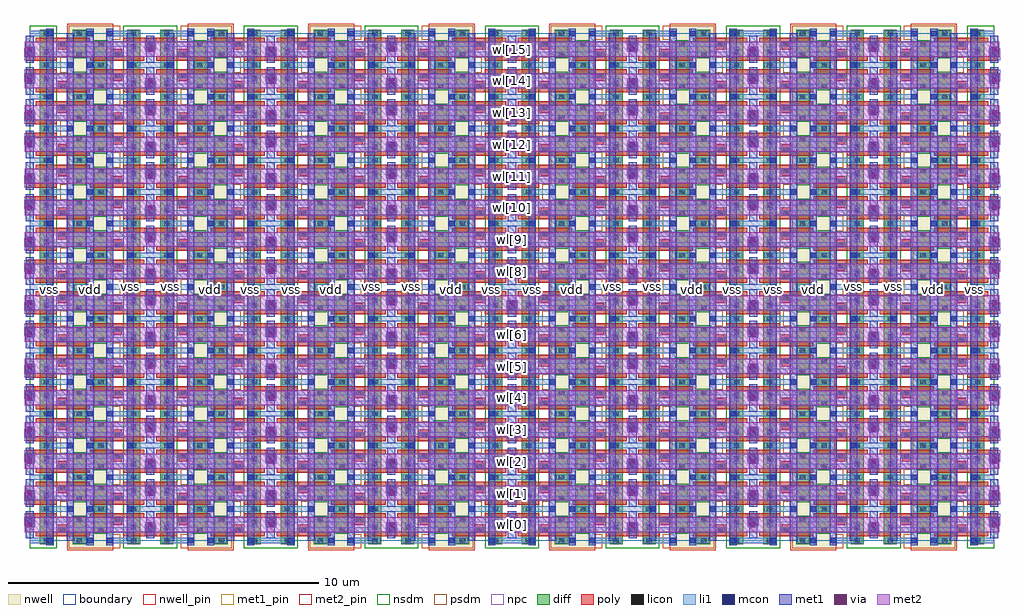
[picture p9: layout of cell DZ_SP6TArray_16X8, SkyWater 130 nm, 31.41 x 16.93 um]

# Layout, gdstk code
from math import pi, radians
import gdstk
lib = gdstk.Library(unit=1e-6, precision=1e-09)
def R(c, l, rs):  # rectangles x0, y0, x1, y1
    for r in rs: c.add(gdstk.rectangle(r[:2], r[2:], *l))
def A(c, l, x, y, w, h, nx, ny, dx, dy):  # array of equal rectangles
    R(c, l, [(x+i*dx, y+j*dy, x+i*dx+w, y+j*dy+h) for i in range(nx) for j in range(ny)])
def P(c, l, *ps):  # polygons
    for p in ps: c.add(gdstk.Polygon(p, *l))
nwell_pin = (64, 16)
nwell = (64, 20)
diff = (65, 20)
poly = (66, 20)
licon = (66, 44)
li1 = (67, 20)
mcon = (67, 44)
met1_pin = (68, 16)
met1 = (68, 20)
via = (68, 44)
met2_pin = (69, 16)
met2 = (69, 20)
nsdm = (93, 44)
psdm = (94, 20)
npc = (95, 20)
boundary = (235, 4)

dz_sp6tcell = lib.new_cell('DZ_SP6TCell')
R(dz_sp6tcell, nwell_pin, [(1.2,-0.305,2.68,1.325)])
R(dz_sp6tcell, nwell, [(1.2,-0.305,2.68,1.325)])
R(dz_sp6tcell, diff, [(0.32,-0.125,0.74,1.145), (2.08,-0.125,2.5,0.54), (3.14,-0.125,3.56,1.145), (1.38,0.215,1.8,0.465), (2.08,0.29,2.5,0.555), (1.38,0.465,1.8,0.73), (1.38,0.48,1.8,1.145), (2.08,0.555,2.5,0.805)])
P(dz_sp6tcell, poly, [(1.95,0.14),(1.95,0.29),(2.685,0.29),(2.685,0.505),(2.955,0.505),(2.955,0.29),(3.69,0.29),(3.69,0.14)],
  [(-0.135,0.14),(-0.135,0.505),(0.135,0.505),(0.135,0.29),(0.87,0.29),(0.87,0.14)],
  [(3.745,0.515),(3.745,0.73),(3.01,0.73),(3.01,0.88),(4.015,0.88),(4.015,0.515)],
  [(0.925,0.515),(0.925,0.73),(0.19,0.73),(0.19,0.88),(1.93,0.88),(1.93,0.73),(1.195,0.73),(1.195,0.515)])
R(dz_sp6tcell, licon, [(0.445,-0.085,0.615,0.085), (2.205,-0.085,2.375,0.085), (3.265,-0.085,3.435,0.085), (-0.085,0.255,0.085,0.425), (1.505,0.255,1.675,0.425), (2.735,0.255,2.905,0.425), (0.445,0.345,0.615,0.515), (3.265,0.505,3.435,0.675), (0.975,0.595,1.145,0.765), (2.205,0.595,2.375,0.765), (3.795,0.595,3.965,0.765), (0.445,0.935,0.615,1.105), (1.505,0.935,1.675,1.105), (3.265,0.935,3.435,1.105)])
R(dz_sp6tcell, li1, [(0.365,-0.085,1.385,0.085), (1.855,-0.085,2.455,0.085), (3.145,-0.085,3.88,0.085), (-0.165,0.255,0.165,0.595), (3.715,0.425,4.045,0.765), (0,0.935,0.735,1.105), (1.425,0.935,2.025,1.105), (2.495,0.935,3.515,1.105)])
P(dz_sp6tcell, li1, [(0.445,0.255),(0.445,0.595),(0.615,0.595),(0.615,0.425),(2.985,0.425),(2.985,0.255)],
  [(3.265,0.425),(3.265,0.595),(0.895,0.595),(0.895,0.765),(3.435,0.765),(3.435,0.425)])
R(dz_sp6tcell, mcon, [(1.215,-0.085,1.385,0.085), (1.855,-0.085,2.025,0.085), (3.145,-0.085,3.315,0.085), (-0.085,0.425,0.085,0.595), (3.795,0.425,3.965,0.595), (0.565,0.935,0.735,1.105), (1.855,0.935,2.025,1.105), (2.495,0.935,2.665,1.105)])
R(dz_sp6tcell, met1_pin, [(1.185,-0.145,1.415,1.02), (1.825,-0.145,2.055,1.165), (3.115,-0.145,3.345,1.02), (0.535,0,0.765,1.165), (2.465,0,2.695,1.165)])
R(dz_sp6tcell, met1, [(1.185,-0.145,1.415,1.02), (1.825,-0.145,2.055,1.165), (3.115,-0.145,3.345,1.02), (0.535,0,0.765,1.165), (2.465,0,2.695,1.165), (-0.13,0.07,0.13,0.95), (3.75,0.07,4.01,0.95)])
R(dz_sp6tcell, via, [(-0.075,0.435,0.075,0.585), (3.805,0.435,3.955,0.585)])
R(dz_sp6tcell, met2_pin, [(-0.16,0.27,4.04,0.75)])
R(dz_sp6tcell, met2, [(-0.16,0.27,4.04,0.75)])
R(dz_sp6tcell, nsdm, [(0,-0.25,0.865,1.27), (3.015,-0.25,3.88,1.27)])
P(dz_sp6tcell, psdm, [(0.975,-0.25),(0.975,0.195),(1.255,0.195),(1.255,1.27),(2.905,1.27),(2.905,0.825),(2.625,0.825),(2.625,-0.25)])
R(dz_sp6tcell, npc, [(-0.185,0.155,0.185,0.525), (2.635,0.155,3.005,0.525), (0.875,0.495,1.245,0.865), (3.695,0.495,4.065,0.865)])
R(dz_sp6tcell, boundary, [(0,0,3.88,1.02)])
dz_sp6tcell.add(gdstk.Label('bl', (1.3,0.438), layer=68, texttype=16))
dz_sp6tcell.add(gdstk.Label('vss', (3.23,0.438), layer=68, texttype=16))
dz_sp6tcell.add(gdstk.Label('vss', (0.65,0.583), layer=68, texttype=16))
dz_sp6tcell.add(gdstk.Label('vdd', (1.94,0.51), layer=68, texttype=16))
dz_sp6tcell.add(gdstk.Label('bl_n', (2.58,0.583), layer=68, texttype=16))
dz_sp6tcell.add(gdstk.Label('wl', (1.94,0.51), layer=69, texttype=16))
dz_sp6tcell.add(gdstk.Label('nwell', (1.94,0.51), layer=64, texttype=16))

dz_sp6tarray_2x1 = lib.new_cell('DZ_SP6TArray_2X1')
R(dz_sp6tarray_2x1, nwell_pin, [(1.2,-0.305,2.68,2.345)])
R(dz_sp6tarray_2x1, nwell, [(1.2,-0.305,2.68,2.345)])
R(dz_sp6tarray_2x1, met1_pin, [(0.535,-0.145,0.765,2.04), (1.825,-0.145,2.055,2.04), (2.465,-0.145,2.695,2.185), (1.185,0,1.415,2.04), (3.115,0,3.345,2.04)])
R(dz_sp6tarray_2x1, met1, [(0.535,-0.145,0.765,2.04), (1.825,-0.145,2.055,2.04), (2.465,-0.145,2.695,2.185), (1.185,0,1.415,2.04), (3.115,0,3.345,2.04)])
R(dz_sp6tarray_2x1, met2_pin, [(-0.16,0.27,4.04,0.75), (-0.16,1.29,4.04,1.77)])
R(dz_sp6tarray_2x1, met2, [(-0.16,0.27,4.04,0.75), (-0.16,1.29,4.04,1.77)])
R(dz_sp6tarray_2x1, boundary, [(0,0,3.88,2.04)])
dz_sp6tarray_2x1.add(gdstk.Reference(dz_sp6tcell, (0,1.02), x_reflection=True))
dz_sp6tarray_2x1.add(gdstk.Reference(dz_sp6tcell, (0,1.02)))
dz_sp6tarray_2x1.add(gdstk.Label('vss', (3.23,1.02), layer=68, texttype=16))
dz_sp6tarray_2x1.add(gdstk.Label('vss', (0.65,0.948), layer=68, texttype=16))
dz_sp6tarray_2x1.add(gdstk.Label('vdd', (1.94,0.948), layer=68, texttype=16))
dz_sp6tarray_2x1.add(gdstk.Label('bl[0]', (1.3,1.02), layer=68, texttype=16))
dz_sp6tarray_2x1.add(gdstk.Label('bl_n[0]', (2.58,1.02), layer=68, texttype=16))
dz_sp6tarray_2x1.add(gdstk.Label('wl[0]', (1.94,0.51), layer=69, texttype=16))
dz_sp6tarray_2x1.add(gdstk.Label('wl[1]', (1.94,1.53), layer=69, texttype=16))
dz_sp6tarray_2x1.add(gdstk.Label('nwell', (1.94,1.02), layer=64, texttype=16))

dz_sp6tarray_2x2 = lib.new_cell('DZ_SP6TArray_2X2')
R(dz_sp6tarray_2x2, nwell_pin, [(1.2,-0.305,2.68,2.345), (5.08,-0.305,6.56,2.345)])
R(dz_sp6tarray_2x2, nwell, [(1.2,-0.305,2.68,2.345), (5.08,-0.305,6.56,2.345)])
R(dz_sp6tarray_2x2, met1_pin, [(0.535,-0.145,0.765,2.04), (1.825,-0.145,2.055,2.04), (2.465,-0.145,2.695,2.185), (5.065,-0.145,5.295,2.185), (5.705,-0.145,5.935,2.04), (6.995,-0.145,7.225,2.04), (1.185,0,1.415,2.04), (3.115,0,3.345,2.04), (4.415,0,4.645,2.04), (6.345,0,6.575,2.04)])
R(dz_sp6tarray_2x2, met1, [(0.535,-0.145,0.765,2.04), (1.825,-0.145,2.055,2.04), (2.465,-0.145,2.695,2.185), (5.065,-0.145,5.295,2.185), (5.705,-0.145,5.935,2.04), (6.995,-0.145,7.225,2.04), (1.185,0,1.415,2.04), (3.115,0,3.345,2.04), (4.415,0,4.645,2.04), (6.345,0,6.575,2.04)])
R(dz_sp6tarray_2x2, met2_pin, [(-0.16,0.27,7.92,0.75), (-0.16,1.29,7.92,1.77)])
R(dz_sp6tarray_2x2, met2, [(-0.16,0.27,7.92,0.75), (-0.16,1.29,7.92,1.77)])
R(dz_sp6tarray_2x2, boundary, [(0,0,7.76,2.04)])
dz_sp6tarray_2x2.add(gdstk.Reference(dz_sp6tarray_2x1, (0,0)))
dz_sp6tarray_2x2.add(gdstk.Reference(dz_sp6tarray_2x1, (7.76,0), rotation=pi, x_reflection=True))
dz_sp6tarray_2x2.add(gdstk.Label('vss', (7.11,0.948), layer=68, texttype=16))
dz_sp6tarray_2x2.add(gdstk.Label('vss', (3.23,1.02), layer=68, texttype=16))
dz_sp6tarray_2x2.add(gdstk.Label('vss', (0.65,0.948), layer=68, texttype=16))
dz_sp6tarray_2x2.add(gdstk.Label('vss', (4.53,1.02), layer=68, texttype=16))
dz_sp6tarray_2x2.add(gdstk.Label('vdd', (5.82,0.948), layer=68, texttype=16))
dz_sp6tarray_2x2.add(gdstk.Label('vdd', (1.94,0.948), layer=68, texttype=16))
dz_sp6tarray_2x2.add(gdstk.Label('bl[0]', (1.3,1.02), layer=68, texttype=16))
dz_sp6tarray_2x2.add(gdstk.Label('bl_n[0]', (2.58,1.02), layer=68, texttype=16))
dz_sp6tarray_2x2.add(gdstk.Label('bl[1]', (6.46,1.02), layer=68, texttype=16))
dz_sp6tarray_2x2.add(gdstk.Label('bl_n[1]', (5.18,1.02), layer=68, texttype=16))
dz_sp6tarray_2x2.add(gdstk.Label('wl[0]', (3.88,0.51), layer=69, texttype=16))
dz_sp6tarray_2x2.add(gdstk.Label('wl[1]', (3.88,1.53), layer=69, texttype=16))
dz_sp6tarray_2x2.add(gdstk.Label('nwell', (5.82,1.02), layer=64, texttype=16))
dz_sp6tarray_2x2.add(gdstk.Label('nwell', (1.94,1.02), layer=64, texttype=16))

dz_sp6tarray_4x2 = lib.new_cell('DZ_SP6TArray_4X2')
R(dz_sp6tarray_4x2, nwell_pin, [(1.2,-0.305,2.68,4.385), (5.08,-0.305,6.56,4.385)])
R(dz_sp6tarray_4x2, nwell, [(1.2,-0.305,2.68,4.385), (5.08,-0.305,6.56,4.385)])
R(dz_sp6tarray_4x2, met1_pin, [(0.535,-0.145,0.765,4.08), (1.825,-0.145,2.055,4.08), (2.465,-0.145,2.695,4.225), (5.065,-0.145,5.295,4.225), (5.705,-0.145,5.935,4.08), (6.995,-0.145,7.225,4.08), (1.185,0,1.415,4.08), (3.115,0,3.345,4.08), (4.415,0,4.645,4.08), (6.345,0,6.575,4.08)])
R(dz_sp6tarray_4x2, met1, [(0.535,-0.145,0.765,4.08), (1.825,-0.145,2.055,4.08), (2.465,-0.145,2.695,4.225), (5.065,-0.145,5.295,4.225), (5.705,-0.145,5.935,4.08), (6.995,-0.145,7.225,4.08), (1.185,0,1.415,4.08), (3.115,0,3.345,4.08), (4.415,0,4.645,4.08), (6.345,0,6.575,4.08)])
A(dz_sp6tarray_4x2, met2_pin, -0.16, 0.27, 8.08, 0.48, 1, 4, 0, 1.02)
A(dz_sp6tarray_4x2, met2, -0.16, 0.27, 8.08, 0.48, 1, 4, 0, 1.02)
R(dz_sp6tarray_4x2, boundary, [(0,0,7.76,4.08)])
dz_sp6tarray_4x2.add(gdstk.Reference(dz_sp6tarray_2x2, (0,0)))
dz_sp6tarray_4x2.add(gdstk.Reference(dz_sp6tarray_2x2, (0,2.04)))
dz_sp6tarray_4x2.add(gdstk.Label('vss', (3.23,2.04), layer=68, texttype=16))
dz_sp6tarray_4x2.add(gdstk.Label('vss', (0.65,1.968), layer=68, texttype=16))
dz_sp6tarray_4x2.add(gdstk.Label('vss', (4.53,2.04), layer=68, texttype=16))
dz_sp6tarray_4x2.add(gdstk.Label('vss', (7.11,1.968), layer=68, texttype=16))
dz_sp6tarray_4x2.add(gdstk.Label('vdd', (5.82,1.968), layer=68, texttype=16))
dz_sp6tarray_4x2.add(gdstk.Label('vdd', (1.94,1.968), layer=68, texttype=16))
dz_sp6tarray_4x2.add(gdstk.Label('bl[0]', (1.3,2.04), layer=68, texttype=16))
dz_sp6tarray_4x2.add(gdstk.Label('bl_n[0]', (2.58,2.04), layer=68, texttype=16))
dz_sp6tarray_4x2.add(gdstk.Label('bl[1]', (6.46,2.04), layer=68, texttype=16))
dz_sp6tarray_4x2.add(gdstk.Label('bl_n[1]', (5.18,2.04), layer=68, texttype=16))
dz_sp6tarray_4x2.add(gdstk.Label('wl[0]', (3.88,0.51), layer=69, texttype=16))
dz_sp6tarray_4x2.add(gdstk.Label('wl[1]', (3.88,1.53), layer=69, texttype=16))
dz_sp6tarray_4x2.add(gdstk.Label('wl[2]', (3.88,2.55), layer=69, texttype=16))
dz_sp6tarray_4x2.add(gdstk.Label('wl[3]', (3.88,3.57), layer=69, texttype=16))
dz_sp6tarray_4x2.add(gdstk.Label('nwell', (5.82,2.04), layer=64, texttype=16))
dz_sp6tarray_4x2.add(gdstk.Label('nwell', (1.94,2.04), layer=64, texttype=16))

dz_sp6tarray_4x4 = lib.new_cell('DZ_SP6TArray_4X4')
A(dz_sp6tarray_4x4, nwell_pin, 1.2, -0.305, 1.48, 4.69, 4, 1, 3.88, 0)
A(dz_sp6tarray_4x4, nwell, 1.2, -0.305, 1.48, 4.69, 4, 1, 3.88, 0)
R(dz_sp6tarray_4x4, met1_pin, [(0.535,-0.145,0.765,4.08), (1.825,-0.145,2.055,4.08), (2.465,-0.145,2.695,4.225), (5.065,-0.145,5.295,4.225), (5.705,-0.145,5.935,4.08), (6.995,-0.145,7.225,4.08), (8.295,-0.145,8.525,4.08), (9.585,-0.145,9.815,4.08), (10.225,-0.145,10.455,4.225), (12.825,-0.145,13.055,4.225), (13.465,-0.145,13.695,4.08), (14.755,-0.145,14.985,4.08), (1.185,0,1.415,4.08), (3.115,0,3.345,4.08), (4.415,0,4.645,4.08), (6.345,0,6.575,4.08), (8.945,0,9.175,4.08), (10.875,0,11.105,4.08), (12.175,0,12.405,4.08), (14.105,0,14.335,4.08)])
R(dz_sp6tarray_4x4, met1, [(0.535,-0.145,0.765,4.08), (1.825,-0.145,2.055,4.08), (2.465,-0.145,2.695,4.225), (5.065,-0.145,5.295,4.225), (5.705,-0.145,5.935,4.08), (6.995,-0.145,7.225,4.08), (8.295,-0.145,8.525,4.08), (9.585,-0.145,9.815,4.08), (10.225,-0.145,10.455,4.225), (12.825,-0.145,13.055,4.225), (13.465,-0.145,13.695,4.08), (14.755,-0.145,14.985,4.08), (1.185,0,1.415,4.08), (3.115,0,3.345,4.08), (4.415,0,4.645,4.08), (6.345,0,6.575,4.08), (8.945,0,9.175,4.08), (10.875,0,11.105,4.08), (12.175,0,12.405,4.08), (14.105,0,14.335,4.08)])
A(dz_sp6tarray_4x4, met2_pin, -0.16, 0.27, 15.84, 0.48, 1, 4, 0, 1.02)
A(dz_sp6tarray_4x4, met2, -0.16, 0.27, 15.84, 0.48, 1, 4, 0, 1.02)
R(dz_sp6tarray_4x4, boundary, [(0,0,15.52,4.08)])
dz_sp6tarray_4x4.add(gdstk.Reference(dz_sp6tarray_4x2, (0,0)))
dz_sp6tarray_4x4.add(gdstk.Reference(dz_sp6tarray_4x2, (7.76,0)))
dz_sp6tarray_4x4.add(gdstk.Label('vss', (14.87,1.968), layer=68, texttype=16))
dz_sp6tarray_4x4.add(gdstk.Label('vss', (8.41,1.968), layer=68, texttype=16))
dz_sp6tarray_4x4.add(gdstk.Label('vss', (3.23,2.04), layer=68, texttype=16))
dz_sp6tarray_4x4.add(gdstk.Label('vss', (10.99,2.04), layer=68, texttype=16))
dz_sp6tarray_4x4.add(gdstk.Label('vss', (4.53,2.04), layer=68, texttype=16))
dz_sp6tarray_4x4.add(gdstk.Label('vss', (7.11,1.968), layer=68, texttype=16))
dz_sp6tarray_4x4.add(gdstk.Label('vss', (12.29,2.04), layer=68, texttype=16))
dz_sp6tarray_4x4.add(gdstk.Label('vss', (0.65,1.968), layer=68, texttype=16))
dz_sp6tarray_4x4.add(gdstk.Label('vdd', (5.82,1.968), layer=68, texttype=16))
dz_sp6tarray_4x4.add(gdstk.Label('vdd', (9.7,1.968), layer=68, texttype=16))
dz_sp6tarray_4x4.add(gdstk.Label('vdd', (1.94,1.968), layer=68, texttype=16))
dz_sp6tarray_4x4.add(gdstk.Label('vdd', (13.58,1.968), layer=68, texttype=16))
dz_sp6tarray_4x4.add(gdstk.Label('bl[0]', (1.3,2.04), layer=68, texttype=16))
dz_sp6tarray_4x4.add(gdstk.Label('bl_n[0]', (2.58,2.04), layer=68, texttype=16))
dz_sp6tarray_4x4.add(gdstk.Label('bl[1]', (6.46,2.04), layer=68, texttype=16))
dz_sp6tarray_4x4.add(gdstk.Label('bl_n[1]', (5.18,2.04), layer=68, texttype=16))
dz_sp6tarray_4x4.add(gdstk.Label('bl[2]', (9.06,2.04), layer=68, texttype=16))
dz_sp6tarray_4x4.add(gdstk.Label('bl_n[2]', (10.34,2.04), layer=68, texttype=16))
dz_sp6tarray_4x4.add(gdstk.Label('bl[3]', (14.22,2.04), layer=68, texttype=16))
dz_sp6tarray_4x4.add(gdstk.Label('bl_n[3]', (12.94,2.04), layer=68, texttype=16))
dz_sp6tarray_4x4.add(gdstk.Label('wl[0]', (7.76,0.51), layer=69, texttype=16))
dz_sp6tarray_4x4.add(gdstk.Label('wl[1]', (7.76,1.53), layer=69, texttype=16))
dz_sp6tarray_4x4.add(gdstk.Label('wl[2]', (7.76,2.55), layer=69, texttype=16))
dz_sp6tarray_4x4.add(gdstk.Label('wl[3]', (7.76,3.57), layer=69, texttype=16))
dz_sp6tarray_4x4.add(gdstk.Label('nwell', (13.58,2.04), layer=64, texttype=16))
dz_sp6tarray_4x4.add(gdstk.Label('nwell', (5.82,2.04), layer=64, texttype=16))
dz_sp6tarray_4x4.add(gdstk.Label('nwell', (9.7,2.04), layer=64, texttype=16))
dz_sp6tarray_4x4.add(gdstk.Label('nwell', (1.94,2.04), layer=64, texttype=16))

dz_sp6tarray_8x4 = lib.new_cell('DZ_SP6TArray_8X4')
A(dz_sp6tarray_8x4, nwell_pin, 1.2, -0.305, 1.48, 8.77, 4, 1, 3.88, 0)
A(dz_sp6tarray_8x4, nwell, 1.2, -0.305, 1.48, 8.77, 4, 1, 3.88, 0)
R(dz_sp6tarray_8x4, met1_pin, [(0.535,-0.145,0.765,8.16), (1.825,-0.145,2.055,8.16), (2.465,-0.145,2.695,8.305), (5.065,-0.145,5.295,8.305), (5.705,-0.145,5.935,8.16), (6.995,-0.145,7.225,8.16), (8.295,-0.145,8.525,8.16), (9.585,-0.145,9.815,8.16), (10.225,-0.145,10.455,8.305), (12.825,-0.145,13.055,8.305), (13.465,-0.145,13.695,8.16), (14.755,-0.145,14.985,8.16), (1.185,0,1.415,8.16), (3.115,0,3.345,8.16), (4.415,0,4.645,8.16), (6.345,0,6.575,8.16), (8.945,0,9.175,8.16), (10.875,0,11.105,8.16), (12.175,0,12.405,8.16), (14.105,0,14.335,8.16)])
R(dz_sp6tarray_8x4, met1, [(0.535,-0.145,0.765,8.16), (1.825,-0.145,2.055,8.16), (2.465,-0.145,2.695,8.305), (5.065,-0.145,5.295,8.305), (5.705,-0.145,5.935,8.16), (6.995,-0.145,7.225,8.16), (8.295,-0.145,8.525,8.16), (9.585,-0.145,9.815,8.16), (10.225,-0.145,10.455,8.305), (12.825,-0.145,13.055,8.305), (13.465,-0.145,13.695,8.16), (14.755,-0.145,14.985,8.16), (1.185,0,1.415,8.16), (3.115,0,3.345,8.16), (4.415,0,4.645,8.16), (6.345,0,6.575,8.16), (8.945,0,9.175,8.16), (10.875,0,11.105,8.16), (12.175,0,12.405,8.16), (14.105,0,14.335,8.16)])
A(dz_sp6tarray_8x4, met2_pin, -0.16, 0.27, 15.84, 0.48, 1, 8, 0, 1.02)
A(dz_sp6tarray_8x4, met2, -0.16, 0.27, 15.84, 0.48, 1, 8, 0, 1.02)
R(dz_sp6tarray_8x4, boundary, [(0,0,15.52,8.16)])
dz_sp6tarray_8x4.add(gdstk.Reference(dz_sp6tarray_4x4, (0,0)))
dz_sp6tarray_8x4.add(gdstk.Reference(dz_sp6tarray_4x4, (0,4.08)))
dz_sp6tarray_8x4.add(gdstk.Label('vss', (12.29,4.08), layer=68, texttype=16))
dz_sp6tarray_8x4.add(gdstk.Label('vss', (0.65,4.008), layer=68, texttype=16))
dz_sp6tarray_8x4.add(gdstk.Label('vss', (14.87,4.008), layer=68, texttype=16))
dz_sp6tarray_8x4.add(gdstk.Label('vss', (8.41,4.008), layer=68, texttype=16))
dz_sp6tarray_8x4.add(gdstk.Label('vss', (3.23,4.08), layer=68, texttype=16))
dz_sp6tarray_8x4.add(gdstk.Label('vss', (7.11,4.008), layer=68, texttype=16))
dz_sp6tarray_8x4.add(gdstk.Label('vss', (10.99,4.08), layer=68, texttype=16))
dz_sp6tarray_8x4.add(gdstk.Label('vss', (4.53,4.08), layer=68, texttype=16))
dz_sp6tarray_8x4.add(gdstk.Label('vdd', (9.7,4.008), layer=68, texttype=16))
dz_sp6tarray_8x4.add(gdstk.Label('vdd', (13.58,4.008), layer=68, texttype=16))
dz_sp6tarray_8x4.add(gdstk.Label('vdd', (5.82,4.008), layer=68, texttype=16))
dz_sp6tarray_8x4.add(gdstk.Label('vdd', (1.94,4.008), layer=68, texttype=16))
dz_sp6tarray_8x4.add(gdstk.Label('bl[0]', (1.3,4.08), layer=68, texttype=16))
dz_sp6tarray_8x4.add(gdstk.Label('bl_n[0]', (2.58,4.08), layer=68, texttype=16))
dz_sp6tarray_8x4.add(gdstk.Label('bl[1]', (6.46,4.08), layer=68, texttype=16))
dz_sp6tarray_8x4.add(gdstk.Label('bl_n[1]', (5.18,4.08), layer=68, texttype=16))
dz_sp6tarray_8x4.add(gdstk.Label('bl[2]', (9.06,4.08), layer=68, texttype=16))
dz_sp6tarray_8x4.add(gdstk.Label('bl_n[2]', (10.34,4.08), layer=68, texttype=16))
dz_sp6tarray_8x4.add(gdstk.Label('bl[3]', (14.22,4.08), layer=68, texttype=16))
dz_sp6tarray_8x4.add(gdstk.Label('bl_n[3]', (12.94,4.08), layer=68, texttype=16))
dz_sp6tarray_8x4.add(gdstk.Label('wl[0]', (7.76,0.51), layer=69, texttype=16))
dz_sp6tarray_8x4.add(gdstk.Label('wl[1]', (7.76,1.53), layer=69, texttype=16))
dz_sp6tarray_8x4.add(gdstk.Label('wl[2]', (7.76,2.55), layer=69, texttype=16))
dz_sp6tarray_8x4.add(gdstk.Label('wl[3]', (7.76,3.57), layer=69, texttype=16))
dz_sp6tarray_8x4.add(gdstk.Label('wl[4]', (7.76,4.59), layer=69, texttype=16))
dz_sp6tarray_8x4.add(gdstk.Label('wl[5]', (7.76,5.61), layer=69, texttype=16))
dz_sp6tarray_8x4.add(gdstk.Label('wl[6]', (7.76,6.63), layer=69, texttype=16))
dz_sp6tarray_8x4.add(gdstk.Label('wl[7]', (7.76,7.65), layer=69, texttype=16))
dz_sp6tarray_8x4.add(gdstk.Label('nwell', (13.58,4.08), layer=64, texttype=16))
dz_sp6tarray_8x4.add(gdstk.Label('nwell', (5.82,4.08), layer=64, texttype=16))
dz_sp6tarray_8x4.add(gdstk.Label('nwell', (9.7,4.08), layer=64, texttype=16))
dz_sp6tarray_8x4.add(gdstk.Label('nwell', (1.94,4.08), layer=64, texttype=16))

dz_sp6tarray_8x8 = lib.new_cell('DZ_SP6TArray_8X8')
A(dz_sp6tarray_8x8, nwell_pin, 1.2, -0.305, 1.48, 8.77, 8, 1, 3.88, 0)
A(dz_sp6tarray_8x8, nwell, 1.2, -0.305, 1.48, 8.77, 8, 1, 3.88, 0)
R(dz_sp6tarray_8x8, met1_pin, [(0.535,-0.145,0.765,8.16), (1.825,-0.145,2.055,8.16), (2.465,-0.145,2.695,8.305), (5.065,-0.145,5.295,8.305), (5.705,-0.145,5.935,8.16), (6.995,-0.145,7.225,8.16), (8.295,-0.145,8.525,8.16), (9.585,-0.145,9.815,8.16), (10.225,-0.145,10.455,8.305), (12.825,-0.145,13.055,8.305), (13.465,-0.145,13.695,8.16), (14.755,-0.145,14.985,8.16), (16.055,-0.145,16.285,8.16), (17.345,-0.145,17.575,8.16), (17.985,-0.145,18.215,8.305), (20.585,-0.145,20.815,8.305), (21.225,-0.145,21.455,8.16), (22.515,-0.145,22.745,8.16), (23.815,-0.145,24.045,8.16), (25.105,-0.145,25.335,8.16), (25.745,-0.145,25.975,8.305), (28.345,-0.145,28.575,8.305), (28.985,-0.145,29.215,8.16), (30.275,-0.145,30.505,8.16), (1.185,0,1.415,8.16), (3.115,0,3.345,8.16), (4.415,0,4.645,8.16), (6.345,0,6.575,8.16), (8.945,0,9.175,8.16), (10.875,0,11.105,8.16), (12.175,0,12.405,8.16), (14.105,0,14.335,8.16), (16.705,0,16.935,8.16), (18.635,0,18.865,8.16), (19.935,0,20.165,8.16), (21.865,0,22.095,8.16), (24.465,0,24.695,8.16), (26.395,0,26.625,8.16), (27.695,0,27.925,8.16), (29.625,0,29.855,8.16)])
R(dz_sp6tarray_8x8, met1, [(0.535,-0.145,0.765,8.16), (1.825,-0.145,2.055,8.16), (2.465,-0.145,2.695,8.305), (5.065,-0.145,5.295,8.305), (5.705,-0.145,5.935,8.16), (6.995,-0.145,7.225,8.16), (8.295,-0.145,8.525,8.16), (9.585,-0.145,9.815,8.16), (10.225,-0.145,10.455,8.305), (12.825,-0.145,13.055,8.305), (13.465,-0.145,13.695,8.16), (14.755,-0.145,14.985,8.16), (16.055,-0.145,16.285,8.16), (17.345,-0.145,17.575,8.16), (17.985,-0.145,18.215,8.305), (20.585,-0.145,20.815,8.305), (21.225,-0.145,21.455,8.16), (22.515,-0.145,22.745,8.16), (23.815,-0.145,24.045,8.16), (25.105,-0.145,25.335,8.16), (25.745,-0.145,25.975,8.305), (28.345,-0.145,28.575,8.305), (28.985,-0.145,29.215,8.16), (30.275,-0.145,30.505,8.16), (1.185,0,1.415,8.16), (3.115,0,3.345,8.16), (4.415,0,4.645,8.16), (6.345,0,6.575,8.16), (8.945,0,9.175,8.16), (10.875,0,11.105,8.16), (12.175,0,12.405,8.16), (14.105,0,14.335,8.16), (16.705,0,16.935,8.16), (18.635,0,18.865,8.16), (19.935,0,20.165,8.16), (21.865,0,22.095,8.16), (24.465,0,24.695,8.16), (26.395,0,26.625,8.16), (27.695,0,27.925,8.16), (29.625,0,29.855,8.16)])
A(dz_sp6tarray_8x8, met2_pin, -0.16, 0.27, 31.36, 0.48, 1, 8, 0, 1.02)
A(dz_sp6tarray_8x8, met2, -0.16, 0.27, 31.36, 0.48, 1, 8, 0, 1.02)
R(dz_sp6tarray_8x8, boundary, [(0,0,31.04,8.16)])
dz_sp6tarray_8x8.add(gdstk.Reference(dz_sp6tarray_8x4, (0,0)))
dz_sp6tarray_8x8.add(gdstk.Reference(dz_sp6tarray_8x4, (15.52,0)))
dz_sp6tarray_8x8.add(gdstk.Label('vss', (12.29,4.08), layer=68, texttype=16))
dz_sp6tarray_8x8.add(gdstk.Label('vss', (30.39,4.008), layer=68, texttype=16))
dz_sp6tarray_8x8.add(gdstk.Label('vss', (0.65,4.008), layer=68, texttype=16))
dz_sp6tarray_8x8.add(gdstk.Label('vss', (20.05,4.08), layer=68, texttype=16))
dz_sp6tarray_8x8.add(gdstk.Label('vss', (14.87,4.008), layer=68, texttype=16))
dz_sp6tarray_8x8.add(gdstk.Label('vss', (8.41,4.008), layer=68, texttype=16))
dz_sp6tarray_8x8.add(gdstk.Label('vss', (22.63,4.008), layer=68, texttype=16))
dz_sp6tarray_8x8.add(gdstk.Label('vss', (16.17,4.008), layer=68, texttype=16))
dz_sp6tarray_8x8.add(gdstk.Label('vss', (3.23,4.08), layer=68, texttype=16))
dz_sp6tarray_8x8.add(gdstk.Label('vss', (18.75,4.08), layer=68, texttype=16))
dz_sp6tarray_8x8.add(gdstk.Label('vss', (23.93,4.008), layer=68, texttype=16))
dz_sp6tarray_8x8.add(gdstk.Label('vss', (7.11,4.008), layer=68, texttype=16))
dz_sp6tarray_8x8.add(gdstk.Label('vss', (27.81,4.08), layer=68, texttype=16))
dz_sp6tarray_8x8.add(gdstk.Label('vss', (10.99,4.08), layer=68, texttype=16))
dz_sp6tarray_8x8.add(gdstk.Label('vss', (4.53,4.08), layer=68, texttype=16))
dz_sp6tarray_8x8.add(gdstk.Label('vss', (26.51,4.08), layer=68, texttype=16))
dz_sp6tarray_8x8.add(gdstk.Label('vdd', (5.82,4.008), layer=68, texttype=16))
dz_sp6tarray_8x8.add(gdstk.Label('vdd', (25.22,4.008), layer=68, texttype=16))
dz_sp6tarray_8x8.add(gdstk.Label('vdd', (17.46,4.008), layer=68, texttype=16))
dz_sp6tarray_8x8.add(gdstk.Label('vdd', (21.34,4.008), layer=68, texttype=16))
dz_sp6tarray_8x8.add(gdstk.Label('vdd', (9.7,4.008), layer=68, texttype=16))
dz_sp6tarray_8x8.add(gdstk.Label('vdd', (1.94,4.008), layer=68, texttype=16))
dz_sp6tarray_8x8.add(gdstk.Label('vdd', (13.58,4.008), layer=68, texttype=16))
dz_sp6tarray_8x8.add(gdstk.Label('vdd', (29.1,4.008), layer=68, texttype=16))
dz_sp6tarray_8x8.add(gdstk.Label('bl[0]', (1.3,4.08), layer=68, texttype=16))
dz_sp6tarray_8x8.add(gdstk.Label('bl_n[0]', (2.58,4.08), layer=68, texttype=16))
dz_sp6tarray_8x8.add(gdstk.Label('bl[1]', (6.46,4.08), layer=68, texttype=16))
dz_sp6tarray_8x8.add(gdstk.Label('bl_n[1]', (5.18,4.08), layer=68, texttype=16))
dz_sp6tarray_8x8.add(gdstk.Label('bl[2]', (9.06,4.08), layer=68, texttype=16))
dz_sp6tarray_8x8.add(gdstk.Label('bl_n[2]', (10.34,4.08), layer=68, texttype=16))
dz_sp6tarray_8x8.add(gdstk.Label('bl[3]', (14.22,4.08), layer=68, texttype=16))
dz_sp6tarray_8x8.add(gdstk.Label('bl_n[3]', (12.94,4.08), layer=68, texttype=16))
dz_sp6tarray_8x8.add(gdstk.Label('bl[4]', (16.82,4.08), layer=68, texttype=16))
dz_sp6tarray_8x8.add(gdstk.Label('bl_n[4]', (18.1,4.08), layer=68, texttype=16))
dz_sp6tarray_8x8.add(gdstk.Label('bl[5]', (21.98,4.08), layer=68, texttype=16))
dz_sp6tarray_8x8.add(gdstk.Label('bl_n[5]', (20.7,4.08), layer=68, texttype=16))
dz_sp6tarray_8x8.add(gdstk.Label('bl[6]', (24.58,4.08), layer=68, texttype=16))
dz_sp6tarray_8x8.add(gdstk.Label('bl_n[6]', (25.86,4.08), layer=68, texttype=16))
dz_sp6tarray_8x8.add(gdstk.Label('bl[7]', (29.74,4.08), layer=68, texttype=16))
dz_sp6tarray_8x8.add(gdstk.Label('bl_n[7]', (28.46,4.08), layer=68, texttype=16))
dz_sp6tarray_8x8.add(gdstk.Label('wl[0]', (15.52,0.51), layer=69, texttype=16))
dz_sp6tarray_8x8.add(gdstk.Label('wl[1]', (15.52,1.53), layer=69, texttype=16))
dz_sp6tarray_8x8.add(gdstk.Label('wl[2]', (15.52,2.55), layer=69, texttype=16))
dz_sp6tarray_8x8.add(gdstk.Label('wl[3]', (15.52,3.57), layer=69, texttype=16))
dz_sp6tarray_8x8.add(gdstk.Label('wl[4]', (15.52,4.59), layer=69, texttype=16))
dz_sp6tarray_8x8.add(gdstk.Label('wl[5]', (15.52,5.61), layer=69, texttype=16))
dz_sp6tarray_8x8.add(gdstk.Label('wl[6]', (15.52,6.63), layer=69, texttype=16))
dz_sp6tarray_8x8.add(gdstk.Label('wl[7]', (15.52,7.65), layer=69, texttype=16))
dz_sp6tarray_8x8.add(gdstk.Label('nwell', (29.1,4.08), layer=64, texttype=16))
dz_sp6tarray_8x8.add(gdstk.Label('nwell', (9.7,4.08), layer=64, texttype=16))
dz_sp6tarray_8x8.add(gdstk.Label('nwell', (25.22,4.08), layer=64, texttype=16))
dz_sp6tarray_8x8.add(gdstk.Label('nwell', (5.82,4.08), layer=64, texttype=16))
dz_sp6tarray_8x8.add(gdstk.Label('nwell', (17.46,4.08), layer=64, texttype=16))
dz_sp6tarray_8x8.add(gdstk.Label('nwell', (13.58,4.08), layer=64, texttype=16))
dz_sp6tarray_8x8.add(gdstk.Label('nwell', (21.34,4.08), layer=64, texttype=16))
dz_sp6tarray_8x8.add(gdstk.Label('nwell', (1.94,4.08), layer=64, texttype=16))

dz_sp6tarray_16x8 = lib.new_cell('DZ_SP6TArray_16X8')
A(dz_sp6tarray_16x8, nwell_pin, 1.2, -0.305, 1.48, 16.93, 8, 1, 3.88, 0)
A(dz_sp6tarray_16x8, nwell, 1.2, -0.305, 1.48, 16.93, 8, 1, 3.88, 0)
R(dz_sp6tarray_16x8, met1_pin, [(0.535,-0.145,0.765,16.32), (1.825,-0.145,2.055,16.32), (2.465,-0.145,2.695,16.465), (5.065,-0.145,5.295,16.465), (5.705,-0.145,5.935,16.32), (6.995,-0.145,7.225,16.32), (8.295,-0.145,8.525,16.32), (9.585,-0.145,9.815,16.32), (10.225,-0.145,10.455,16.465), (12.825,-0.145,13.055,16.465), (13.465,-0.145,13.695,16.32), (14.755,-0.145,14.985,16.32), (16.055,-0.145,16.285,16.32), (17.345,-0.145,17.575,16.32), (17.985,-0.145,18.215,16.465), (20.585,-0.145,20.815,16.465), (21.225,-0.145,21.455,16.32), (22.515,-0.145,22.745,16.32), (23.815,-0.145,24.045,16.32), (25.105,-0.145,25.335,16.32), (25.745,-0.145,25.975,16.465), (28.345,-0.145,28.575,16.465), (28.985,-0.145,29.215,16.32), (30.275,-0.145,30.505,16.32), (1.185,0,1.415,16.32), (3.115,0,3.345,16.32), (4.415,0,4.645,16.32), (6.345,0,6.575,16.32), (8.945,0,9.175,16.32), (10.875,0,11.105,16.32), (12.175,0,12.405,16.32), (14.105,0,14.335,16.32), (16.705,0,16.935,16.32), (18.635,0,18.865,16.32), (19.935,0,20.165,16.32), (21.865,0,22.095,16.32), (24.465,0,24.695,16.32), (26.395,0,26.625,16.32), (27.695,0,27.925,16.32), (29.625,0,29.855,16.32)])
R(dz_sp6tarray_16x8, met1, [(0.535,-0.145,0.765,16.32), (1.825,-0.145,2.055,16.32), (2.465,-0.145,2.695,16.465), (5.065,-0.145,5.295,16.465), (5.705,-0.145,5.935,16.32), (6.995,-0.145,7.225,16.32), (8.295,-0.145,8.525,16.32), (9.585,-0.145,9.815,16.32), (10.225,-0.145,10.455,16.465), (12.825,-0.145,13.055,16.465), (13.465,-0.145,13.695,16.32), (14.755,-0.145,14.985,16.32), (16.055,-0.145,16.285,16.32), (17.345,-0.145,17.575,16.32), (17.985,-0.145,18.215,16.465), (20.585,-0.145,20.815,16.465), (21.225,-0.145,21.455,16.32), (22.515,-0.145,22.745,16.32), (23.815,-0.145,24.045,16.32), (25.105,-0.145,25.335,16.32), (25.745,-0.145,25.975,16.465), (28.345,-0.145,28.575,16.465), (28.985,-0.145,29.215,16.32), (30.275,-0.145,30.505,16.32), (1.185,0,1.415,16.32), (3.115,0,3.345,16.32), (4.415,0,4.645,16.32), (6.345,0,6.575,16.32), (8.945,0,9.175,16.32), (10.875,0,11.105,16.32), (12.175,0,12.405,16.32), (14.105,0,14.335,16.32), (16.705,0,16.935,16.32), (18.635,0,18.865,16.32), (19.935,0,20.165,16.32), (21.865,0,22.095,16.32), (24.465,0,24.695,16.32), (26.395,0,26.625,16.32), (27.695,0,27.925,16.32), (29.625,0,29.855,16.32)])
A(dz_sp6tarray_16x8, met2_pin, -0.16, 0.27, 31.36, 0.48, 1, 16, 0, 1.02)
A(dz_sp6tarray_16x8, met2, -0.16, 0.27, 31.36, 0.48, 1, 16, 0, 1.02)
R(dz_sp6tarray_16x8, boundary, [(0,0,31.04,16.32)])
dz_sp6tarray_16x8.add(gdstk.Reference(dz_sp6tarray_8x8, (0,0)))
dz_sp6tarray_16x8.add(gdstk.Reference(dz_sp6tarray_8x8, (0,8.16)))
dz_sp6tarray_16x8.add(gdstk.Label('vss', (10.99,8.16), layer=68, texttype=16))
dz_sp6tarray_16x8.add(gdstk.Label('vss', (20.05,8.16), layer=68, texttype=16))
dz_sp6tarray_16x8.add(gdstk.Label('vss', (4.53,8.16), layer=68, texttype=16))
dz_sp6tarray_16x8.add(gdstk.Label('vss', (7.11,8.088), layer=68, texttype=16))
dz_sp6tarray_16x8.add(gdstk.Label('vss', (26.51,8.16), layer=68, texttype=16))
dz_sp6tarray_16x8.add(gdstk.Label('vss', (12.29,8.16), layer=68, texttype=16))
dz_sp6tarray_16x8.add(gdstk.Label('vss', (27.81,8.16), layer=68, texttype=16))
dz_sp6tarray_16x8.add(gdstk.Label('vss', (0.65,8.088), layer=68, texttype=16))
dz_sp6tarray_16x8.add(gdstk.Label('vss', (22.63,8.088), layer=68, texttype=16))
dz_sp6tarray_16x8.add(gdstk.Label('vss', (30.39,8.088), layer=68, texttype=16))
dz_sp6tarray_16x8.add(gdstk.Label('vss', (14.87,8.088), layer=68, texttype=16))
dz_sp6tarray_16x8.add(gdstk.Label('vss', (8.41,8.088), layer=68, texttype=16))
dz_sp6tarray_16x8.add(gdstk.Label('vss', (16.17,8.088), layer=68, texttype=16))
dz_sp6tarray_16x8.add(gdstk.Label('vss', (3.23,8.16), layer=68, texttype=16))
dz_sp6tarray_16x8.add(gdstk.Label('vss', (18.75,8.16), layer=68, texttype=16))
dz_sp6tarray_16x8.add(gdstk.Label('vss', (23.93,8.088), layer=68, texttype=16))
dz_sp6tarray_16x8.add(gdstk.Label('vdd', (25.22,8.088), layer=68, texttype=16))
dz_sp6tarray_16x8.add(gdstk.Label('vdd', (17.46,8.088), layer=68, texttype=16))
dz_sp6tarray_16x8.add(gdstk.Label('vdd', (5.82,8.088), layer=68, texttype=16))
dz_sp6tarray_16x8.add(gdstk.Label('vdd', (9.7,8.088), layer=68, texttype=16))
dz_sp6tarray_16x8.add(gdstk.Label('vdd', (1.94,8.088), layer=68, texttype=16))
dz_sp6tarray_16x8.add(gdstk.Label('vdd', (21.34,8.088), layer=68, texttype=16))
dz_sp6tarray_16x8.add(gdstk.Label('vdd', (13.58,8.088), layer=68, texttype=16))
dz_sp6tarray_16x8.add(gdstk.Label('vdd', (29.1,8.088), layer=68, texttype=16))
dz_sp6tarray_16x8.add(gdstk.Label('bl[0]', (1.3,8.16), layer=68, texttype=16))
dz_sp6tarray_16x8.add(gdstk.Label('bl_n[0]', (2.58,8.16), layer=68, texttype=16))
dz_sp6tarray_16x8.add(gdstk.Label('bl[1]', (6.46,8.16), layer=68, texttype=16))
dz_sp6tarray_16x8.add(gdstk.Label('bl_n[1]', (5.18,8.16), layer=68, texttype=16))
dz_sp6tarray_16x8.add(gdstk.Label('bl[2]', (9.06,8.16), layer=68, texttype=16))
dz_sp6tarray_16x8.add(gdstk.Label('bl_n[2]', (10.34,8.16), layer=68, texttype=16))
dz_sp6tarray_16x8.add(gdstk.Label('bl[3]', (14.22,8.16), layer=68, texttype=16))
dz_sp6tarray_16x8.add(gdstk.Label('bl_n[3]', (12.94,8.16), layer=68, texttype=16))
dz_sp6tarray_16x8.add(gdstk.Label('bl[4]', (16.82,8.16), layer=68, texttype=16))
dz_sp6tarray_16x8.add(gdstk.Label('bl_n[4]', (18.1,8.16), layer=68, texttype=16))
dz_sp6tarray_16x8.add(gdstk.Label('bl[5]', (21.98,8.16), layer=68, texttype=16))
dz_sp6tarray_16x8.add(gdstk.Label('bl_n[5]', (20.7,8.16), layer=68, texttype=16))
dz_sp6tarray_16x8.add(gdstk.Label('bl[6]', (24.58,8.16), layer=68, texttype=16))
dz_sp6tarray_16x8.add(gdstk.Label('bl_n[6]', (25.86,8.16), layer=68, texttype=16))
dz_sp6tarray_16x8.add(gdstk.Label('bl[7]', (29.74,8.16), layer=68, texttype=16))
dz_sp6tarray_16x8.add(gdstk.Label('bl_n[7]', (28.46,8.16), layer=68, texttype=16))
dz_sp6tarray_16x8.add(gdstk.Label('wl[0]', (15.52,0.51), layer=69, texttype=16))
dz_sp6tarray_16x8.add(gdstk.Label('wl[1]', (15.52,1.53), layer=69, texttype=16))
dz_sp6tarray_16x8.add(gdstk.Label('wl[2]', (15.52,2.55), layer=69, texttype=16))
dz_sp6tarray_16x8.add(gdstk.Label('wl[3]', (15.52,3.57), layer=69, texttype=16))
dz_sp6tarray_16x8.add(gdstk.Label('wl[4]', (15.52,4.59), layer=69, texttype=16))
dz_sp6tarray_16x8.add(gdstk.Label('wl[5]', (15.52,5.61), layer=69, texttype=16))
dz_sp6tarray_16x8.add(gdstk.Label('wl[6]', (15.52,6.63), layer=69, texttype=16))
dz_sp6tarray_16x8.add(gdstk.Label('wl[7]', (15.52,7.65), layer=69, texttype=16))
dz_sp6tarray_16x8.add(gdstk.Label('wl[8]', (15.52,8.67), layer=69, texttype=16))
dz_sp6tarray_16x8.add(gdstk.Label('wl[9]', (15.52,9.69), layer=69, texttype=16))
dz_sp6tarray_16x8.add(gdstk.Label('wl[10]', (15.52,10.71), layer=69, texttype=16))
dz_sp6tarray_16x8.add(gdstk.Label('wl[11]', (15.52,11.73), layer=69, texttype=16))
dz_sp6tarray_16x8.add(gdstk.Label('wl[12]', (15.52,12.75), layer=69, texttype=16))
dz_sp6tarray_16x8.add(gdstk.Label('wl[13]', (15.52,13.77), layer=69, texttype=16))
dz_sp6tarray_16x8.add(gdstk.Label('wl[14]', (15.52,14.79), layer=69, texttype=16))
dz_sp6tarray_16x8.add(gdstk.Label('wl[15]', (15.52,15.81), layer=69, texttype=16))
dz_sp6tarray_16x8.add(gdstk.Label('nwell', (1.94,8.16), layer=64, texttype=16))
dz_sp6tarray_16x8.add(gdstk.Label('nwell', (21.34,8.16), layer=64, texttype=16))
dz_sp6tarray_16x8.add(gdstk.Label('nwell', (29.1,8.16), layer=64, texttype=16))
dz_sp6tarray_16x8.add(gdstk.Label('nwell', (9.7,8.16), layer=64, texttype=16))
dz_sp6tarray_16x8.add(gdstk.Label('nwell', (25.22,8.16), layer=64, texttype=16))
dz_sp6tarray_16x8.add(gdstk.Label('nwell', (5.82,8.16), layer=64, texttype=16))
dz_sp6tarray_16x8.add(gdstk.Label('nwell', (17.46,8.16), layer=64, texttype=16))
dz_sp6tarray_16x8.add(gdstk.Label('nwell', (13.58,8.16), layer=64, texttype=16))

lib.write_gds('DZ_SP6TArray_16X8.gds')
